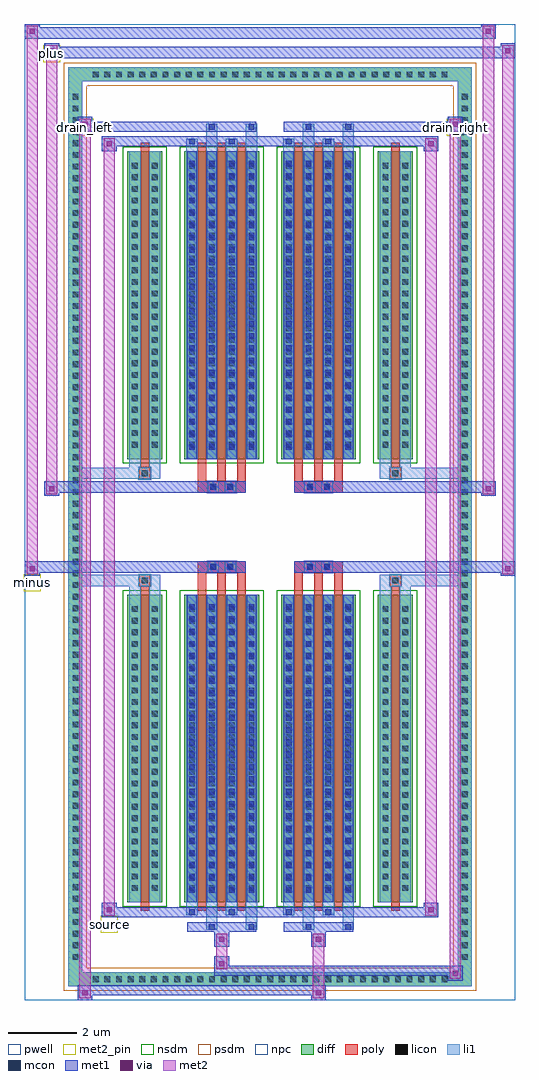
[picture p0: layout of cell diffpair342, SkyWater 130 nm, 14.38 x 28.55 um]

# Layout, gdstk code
import gdstk
lib = gdstk.Library(unit=1e-6, precision=5e-09)
def R(c, l, rs):  # rectangles x0, y0, x1, y1
    for r in rs: c.add(gdstk.rectangle(r[:2], r[2:], *l))
def A(c, l, x, y, w, h, nx, ny, dx, dy):  # array of equal rectangles
    R(c, l, [(x+i*dx, y+j*dy, x+i*dx+w, y+j*dy+h) for i in range(nx) for j in range(ny)])
def P(c, l, *ps):  # polygons
    for p in ps: c.add(gdstk.Polygon(p, *l))
pwell = (64, 44)
diff = (65, 20)
poly = (66, 20)
licon = (66, 44)
li1 = (67, 20)
mcon = (67, 44)
met1 = (68, 20)
via = (68, 44)
met2_pin = (69, 16)
met2 = (69, 20)
nsdm = (93, 44)
psdm = (94, 20)
npc = (95, 20)

diffpair342 = lib.new_cell('diffpair342')
R(diffpair342, pwell, [(-7.17,-13.84,7.17,14.71), (-4.49,-12.03,-0.01,-0.805), (0.01,-12.03,4.49,-0.805), (-4.49,0.805,-0.01,12.03), (0.01,0.805,4.49,12.03)])
A(diffpair342, diff, -5.305, -13.44, 0.41, 0.41, 31, 2, 0.34, 26.47)
A(diffpair342, diff, -5.9, -12.785, 0.41, 0.41, 1, 75, 0, 0.34)
A(diffpair342, diff, 5.49, -12.785, 0.41, 0.41, 1, 75, 0, 0.34)
R(diffpair342, diff, [(-5.305,-13.44,5.305,-13.03), (-5.9,-12.785,-5.49,12.785), (5.49,-12.785,5.9,12.785), (-4.18,-10.985,-3.15,-1.985), (-2.51,-10.985,-0.32,-1.985), (0.32,-10.985,2.51,-1.985), (3.15,-10.985,4.18,-1.985), (-4.18,1.985,-3.15,10.985), (-2.51,1.985,-0.32,10.985), (0.32,1.985,2.51,10.985), (3.15,1.985,4.18,10.985), (-5.305,13.03,5.305,13.44)])
P(diffpair342, diff, [(5.9,13.44),(-5.9,13.44),(-5.9,-13.03),(-5.49,-13.03),(-5.49,13.03),(5.49,13.03),(5.49,-13.03),(-5.49,-13.03),(-5.9,-13.03),(-5.9,-13.44),(5.9,-13.44)])
A(diffpair342, poly, -2.12, -11.235, 0.25, 9.5, 3, 2, 0.58, 12.97)
A(diffpair342, poly, 0.71, -11.235, 0.25, 9.5, 3, 2, 0.58, 12.97)
A(diffpair342, poly, -2.12, -1.735, 0.25, 0.4, 3, 2, 0.58, 3.07)
A(diffpair342, poly, 0.71, -1.735, 0.25, 0.4, 3, 2, 0.58, 3.07)
R(diffpair342, poly, [(-3.79,-11.235,-3.54,-1.735), (3.54,-11.235,3.79,-1.735), (-3.83,-1.735,-3.5,-1.405), (-3.83,-1.735,-3.5,-1.405), (3.5,-1.735,3.83,-1.405), (3.5,-1.735,3.83,-1.405), (-2.12,-1.335,-0.71,-1.005), (-1.83,-1.335,-1.5,-1.005), (-1.33,-1.335,-1,-1.005), (0.71,-1.335,2.12,-1.005), (1,-1.335,1.33,-1.005), (1.5,-1.335,1.83,-1.005), (-2.12,1.005,-0.71,1.335), (-1.83,1.005,-1.5,1.335), (-1.33,1.005,-1,1.335), (0.71,1.005,2.12,1.335), (1,1.005,1.33,1.335), (1.5,1.005,1.83,1.335), (-3.83,1.405,-3.5,1.735), (-3.83,1.405,-3.5,1.735), (3.5,1.405,3.83,1.735), (3.5,1.405,3.83,1.735), (-3.79,1.735,-3.54,11.235), (3.54,1.735,3.79,11.235)])
A(diffpair342, licon, -5.185, -13.32, 0.17, 0.17, 31, 2, 0.34, 26.47)
A(diffpair342, licon, -5.78, -12.665, 0.17, 0.17, 1, 75, 0, 0.34)
A(diffpair342, licon, 5.61, -12.665, 0.17, 0.17, 1, 75, 0, 0.34)
A(diffpair342, licon, -4.04, -10.65, 0.17, 0.17, 1, 25, 0, 0.34)
A(diffpair342, licon, -3.46, -10.65, 0.17, 0.17, 1, 25, 0, 0.34)
A(diffpair342, licon, -2.37, -10.65, 0.17, 0.17, 4, 25, 0.58, 0.34)
A(diffpair342, licon, 0.46, -10.65, 0.17, 0.17, 4, 25, 0.58, 0.34)
A(diffpair342, licon, 3.29, -10.65, 0.17, 0.17, 1, 25, 0, 0.34)
A(diffpair342, licon, 3.87, -10.65, 0.17, 0.17, 1, 25, 0, 0.34)
A(diffpair342, licon, -4.04, 2.32, 0.17, 0.17, 1, 25, 0, 0.34)
A(diffpair342, licon, -3.46, 2.32, 0.17, 0.17, 1, 25, 0, 0.34)
A(diffpair342, licon, -2.37, 2.32, 0.17, 0.17, 4, 25, 0.58, 0.34)
A(diffpair342, licon, 0.46, 2.32, 0.17, 0.17, 4, 25, 0.58, 0.34)
A(diffpair342, licon, 3.29, 2.32, 0.17, 0.17, 1, 25, 0, 0.34)
A(diffpair342, licon, 3.87, 2.32, 0.17, 0.17, 1, 25, 0, 0.34)
R(diffpair342, licon, [(-3.75,-1.655,-3.58,-1.485), (3.58,-1.655,3.75,-1.485), (-1.75,-1.255,-1.58,-1.085), (-1.25,-1.255,-1.08,-1.085), (1.08,-1.255,1.25,-1.085), (1.58,-1.255,1.75,-1.085), (-1.75,1.085,-1.58,1.255), (-1.25,1.085,-1.08,1.255), (1.08,1.085,1.25,1.255), (1.58,1.085,1.75,1.255), (-3.75,1.485,-3.58,1.655), (3.58,1.485,3.75,1.655)])
A(diffpair342, li1, -5.265, -13.4, 0.33, 0.33, 31, 2, 0.34, 26.47)
A(diffpair342, li1, -5.86, -12.745, 0.33, 0.33, 1, 75, 0, 0.34)
A(diffpair342, li1, 5.53, -12.745, 0.33, 0.33, 1, 75, 0, 0.34)
A(diffpair342, li1, -2.45, -10.985, 0.33, 9, 4, 2, 0.58, 12.97)
A(diffpair342, li1, 0.38, -10.985, 0.33, 9, 4, 2, 0.58, 12.97)
A(diffpair342, li1, -4.12, -10.73, 0.33, 0.33, 1, 25, 0, 0.34)
A(diffpair342, li1, -3.54, -10.73, 0.33, 0.33, 1, 25, 0, 0.34)
A(diffpair342, li1, -2.45, -10.73, 0.33, 0.33, 4, 25, 0.58, 0.34)
A(diffpair342, li1, 0.38, -10.73, 0.33, 0.33, 4, 25, 0.58, 0.34)
A(diffpair342, li1, 3.21, -10.73, 0.33, 0.33, 1, 25, 0, 0.34)
A(diffpair342, li1, 3.79, -10.73, 0.33, 0.33, 1, 25, 0, 0.34)
A(diffpair342, li1, -2.37, -10.71, 0.17, 0.17, 4, 24, 0.58, 0.36)
A(diffpair342, li1, -2.37, -10.71, 0.17, 8.45, 4, 2, 0.58, 12.97)
A(diffpair342, li1, 0.46, -10.71, 0.17, 0.17, 4, 24, 0.58, 0.36)
A(diffpair342, li1, 0.46, -10.71, 0.17, 8.45, 4, 2, 0.58, 12.97)
A(diffpair342, li1, -4.12, 2.24, 0.33, 0.33, 1, 25, 0, 0.34)
A(diffpair342, li1, -3.54, 2.24, 0.33, 0.33, 1, 25, 0, 0.34)
A(diffpair342, li1, -2.45, 2.24, 0.33, 0.33, 4, 25, 0.58, 0.34)
A(diffpair342, li1, 0.38, 2.24, 0.33, 0.33, 4, 25, 0.58, 0.34)
A(diffpair342, li1, 3.21, 2.24, 0.33, 0.33, 1, 25, 0, 0.34)
A(diffpair342, li1, 3.79, 2.24, 0.33, 0.33, 1, 25, 0, 0.34)
A(diffpair342, li1, -2.37, 2.26, 0.17, 0.17, 4, 24, 0.58, 0.36)
A(diffpair342, li1, 0.46, 2.26, 0.17, 0.17, 4, 24, 0.58, 0.36)
R(diffpair342, li1, [(-5.9,-13.44,-5.49,-13.03), (-5.9,-13.44,-5.49,-13.03), (-5.49,-13.44,5.49,-13.03), (5.49,-13.44,5.9,-13.03), (5.49,-13.44,5.9,-13.03), (-5.9,-13.03,-5.49,13.03), (5.49,-13.03,5.9,13.03), (-1.87,-11.79,-1.54,-10.985), (-1.79,-11.79,-1.62,-11.62), (-0.71,-11.79,-0.38,-10.985), (-0.63,-11.79,-0.46,-11.62), (0.96,-11.79,1.29,-10.985), (1.04,-11.79,1.21,-11.62), (2.12,-11.79,2.45,-10.985), (2.2,-11.79,2.37,-11.62), (-2.45,-11.36,-2.12,-10.985), (-2.37,-11.36,-2.2,-11.19), (-1.29,-11.36,-0.96,-10.985), (-1.21,-11.36,-1.04,-11.19), (0.38,-11.36,0.71,-10.985), (0.46,-11.36,0.63,-11.19), (1.54,-11.36,1.87,-10.985), (1.62,-11.36,1.79,-11.19), (-4.12,-10.985,-3.79,-1.985), (-3.54,-10.985,-3.21,-1.985), (3.21,-10.985,3.54,-1.985), (3.79,-10.985,4.12,-1.985), (-4.12,-1.985,-3.79,-1.405), (-3.54,-1.985,-3.21,-1.405), (3.21,-1.985,3.54,-1.405), (3.79,-1.985,4.12,-1.405), (-5.9,-1.735,-3.83,-1.405), (-4.12,-1.735,-3.83,-1.405), (-3.83,-1.735,-3.5,-1.405), (-3.5,-1.735,-3.21,-1.405), (3.21,-1.735,3.5,-1.405), (3.5,-1.735,3.83,-1.405), (3.5,-1.735,5.9,-1.405), (3.83,-1.735,4.12,-1.405), (-1.83,-1.335,-1.5,-1.005), (-1.33,-1.335,-1,-1.005), (1,-1.335,1.33,-1.005), (1.5,-1.335,1.83,-1.005), (-1.83,1.005,-1.5,1.335), (-1.33,1.005,-1,1.335), (1,1.005,1.33,1.335), (1.5,1.005,1.83,1.335), (-5.9,1.405,-3.83,1.735), (-4.12,1.405,-3.83,1.735), (-4.12,1.405,-3.79,1.985), (-3.83,1.405,-3.5,1.735), (-3.54,1.405,-3.21,1.985), (-3.5,1.405,-3.21,1.735), (3.21,1.405,3.5,1.735), (3.21,1.405,3.54,1.985), (3.5,1.405,3.83,1.735), (3.5,1.405,5.9,1.735), (3.79,1.405,4.12,1.985), (3.83,1.405,4.12,1.735), (-4.12,1.985,-3.79,10.985), (-3.54,1.985,-3.21,10.985), (3.21,1.985,3.54,10.985), (3.79,1.985,4.12,10.985), (-2.45,10.985,-2.12,11.36), (-1.87,10.985,-1.54,11.79), (-1.29,10.985,-0.96,11.36), (-0.71,10.985,-0.38,11.79), (0.38,10.985,0.71,11.36), (0.96,10.985,1.29,11.79), (1.54,10.985,1.87,11.36), (2.12,10.985,2.45,11.79), (-2.37,11.19,-2.2,11.36), (-1.21,11.19,-1.04,11.36), (0.46,11.19,0.63,11.36), (1.62,11.19,1.79,11.36), (-1.79,11.62,-1.62,11.79), (-0.63,11.62,-0.46,11.79), (1.04,11.62,1.21,11.79), (2.2,11.62,2.37,11.79), (-5.9,13.03,-5.49,13.44), (-5.9,13.03,-5.49,13.44), (-5.49,13.03,5.49,13.44), (5.49,13.03,5.9,13.44), (5.49,13.03,5.9,13.44)])
A(diffpair342, mcon, -2.37, -10.71, 0.17, 0.17, 4, 24, 0.58, 0.36)
A(diffpair342, mcon, 0.46, -10.71, 0.17, 0.17, 4, 24, 0.58, 0.36)
A(diffpair342, mcon, -2.37, 2.26, 0.17, 0.17, 4, 24, 0.58, 0.36)
A(diffpair342, mcon, 0.46, 2.26, 0.17, 0.17, 4, 24, 0.58, 0.36)
R(diffpair342, mcon, [(-1.79,-11.79,-1.62,-11.62), (-0.63,-11.79,-0.46,-11.62), (1.04,-11.79,1.21,-11.62), (2.2,-11.79,2.37,-11.62), (-2.37,-11.36,-2.2,-11.19), (-1.21,-11.36,-1.04,-11.19), (0.46,-11.36,0.63,-11.19), (1.62,-11.36,1.79,-11.19), (-1.75,-1.255,-1.58,-1.085), (-1.25,-1.255,-1.08,-1.085), (1.08,-1.255,1.25,-1.085), (1.58,-1.255,1.75,-1.085), (-1.75,1.085,-1.58,1.255), (-1.25,1.085,-1.08,1.255), (1.08,1.085,1.25,1.255), (1.58,1.085,1.75,1.255), (-2.37,11.19,-2.2,11.36), (-1.21,11.19,-1.04,11.36), (0.46,11.19,0.63,11.36), (1.62,11.19,1.79,11.36), (-1.79,11.62,-1.62,11.79), (-0.63,11.62,-0.46,11.79), (1.04,11.62,1.21,11.79), (2.2,11.62,2.37,11.79)])
A(diffpair342, met1, -2.43, -10.985, 0.29, 9, 4, 2, 0.58, 12.97)
A(diffpair342, met1, 0.4, -10.985, 0.29, 9, 4, 2, 0.58, 12.97)
A(diffpair342, met1, -2.43, -10.77, 0.29, 0.29, 4, 24, 0.58, 0.36)
A(diffpair342, met1, 0.4, -10.77, 0.29, 0.29, 4, 24, 0.58, 0.36)
A(diffpair342, met1, -2.43, 2.2, 0.29, 0.29, 4, 24, 0.58, 0.36)
A(diffpair342, met1, 0.4, 2.2, 0.29, 0.29, 4, 24, 0.58, 0.36)
R(diffpair342, met1, [(-5.63,-13.84,-5.2,-13.41), (1.2,-13.84,1.63,-13.41), (-5.63,-13.7,1.63,-13.41), (5.2,-13.27,5.63,-12.84), (-1.63,-13.13,5.63,-12.84), (-1.63,-12.99,-1.2,-12.56), (-1.63,-12.28,-1.2,-11.85), (1.2,-12.28,1.63,-11.85), (-2.43,-11.85,-0.4,-11.56), (-1.85,-11.85,-1.56,-11.56), (-0.69,-11.85,-0.4,-11.56), (0.4,-11.85,2.43,-11.56), (0.98,-11.85,1.27,-11.56), (2.14,-11.85,2.43,-11.56), (-4.92,-11.42,-4.49,-10.99), (-4.92,-11.42,-2.43,-11.13), (-2.43,-11.42,-2.14,-11.13), (-2.43,-11.42,-0.4,-11.13), (-1.27,-11.42,-0.98,-11.13), (-0.4,-11.42,0.4,-11.13), (0.4,-11.42,0.69,-11.13), (0.4,-11.42,2.43,-11.13), (1.56,-11.42,1.85,-11.13), (2.43,-11.42,4.92,-11.13), (4.49,-11.42,4.92,-10.99), (-7.17,-1.435,-6.74,-1.005), (6.74,-1.435,7.17,-1.005), (-7.17,-1.335,-0.71,-1.005), (-2.12,-1.335,-0.71,-1.005), (0.71,-1.335,2.12,-1.005), (0.71,-1.335,7.17,-1.005), (-1.81,-1.315,-1.52,-1.025), (-1.31,-1.315,-1.02,-1.025), (1.02,-1.315,1.31,-1.025), (1.52,-1.315,1.81,-1.025), (-6.6,0.905,-6.17,1.335), (6.17,0.905,6.6,1.335), (-6.6,1.005,-2.12,1.335), (-2.12,1.005,-0.71,1.335), (0.71,1.005,2.12,1.335), (2.12,1.005,6.6,1.335), (-1.81,1.025,-1.52,1.315), (-1.31,1.025,-1.02,1.315), (1.02,1.025,1.31,1.315), (1.52,1.025,1.81,1.315), (-4.92,10.99,-4.49,11.42), (4.49,10.99,4.92,11.42), (-4.92,11.13,-2.43,11.42), (-2.43,11.13,-2.14,11.42), (-2.43,11.13,-0.4,11.42), (-1.27,11.13,-0.98,11.42), (-0.4,11.13,0.4,11.42), (0.4,11.13,0.69,11.42), (0.4,11.13,2.43,11.42), (1.56,11.13,1.85,11.42), (2.43,11.13,4.92,11.42), (-5.63,11.56,-5.2,11.99), (-5.63,11.56,-2.43,11.85), (-2.43,11.56,-0.4,11.85), (-1.85,11.56,-1.56,11.85), (-0.69,11.56,-0.4,11.85), (0.4,11.56,2.43,11.85), (0.98,11.56,1.27,11.85), (2.14,11.56,2.43,11.85), (2.43,11.56,5.63,11.85), (5.2,11.56,5.63,11.99), (-6.6,13.71,-6.17,14.14), (-6.6,13.71,-4.49,14.04), (-4.49,13.71,4.49,14.04), (4.49,13.71,7.17,14.04), (6.74,13.71,7.17,14.14), (-7.17,14.28,-6.74,14.71), (-7.17,14.28,-4.49,14.61), (-4.49,14.28,4.49,14.61), (4.49,14.28,6.6,14.61), (6.17,14.28,6.6,14.71)])
R(diffpair342, via, [(-5.49,-13.7,-5.34,-13.55), (1.34,-13.7,1.49,-13.55), (5.34,-13.13,5.49,-12.98), (-1.49,-12.85,-1.34,-12.7), (-1.49,-12.14,-1.34,-11.99), (1.34,-12.14,1.49,-11.99), (-4.78,-11.28,-4.63,-11.13), (4.63,-11.28,4.78,-11.13), (-7.03,-1.295,-6.88,-1.145), (6.88,-1.295,7.03,-1.145), (-6.46,1.045,-6.31,1.195), (6.31,1.045,6.46,1.195), (-4.78,11.13,-4.63,11.28), (4.63,11.13,4.78,11.28), (-5.49,11.7,-5.34,11.85), (5.34,11.7,5.49,11.85), (-6.46,13.85,-6.31,14), (6.88,13.85,7.03,14), (-7.03,14.42,-6.88,14.57), (6.31,14.42,6.46,14.57)])
R(diffpair342, met2_pin, [(-4.955,-11.87,-4.455,-11.37), (-7.205,-1.885,-6.705,-1.385), (-5.665,11.44,-5.165,11.94), (5.165,11.44,5.665,11.94), (-6.635,13.59,-6.135,14.09)])
R(diffpair342, met2, [(-5.58,-13.79,-5.25,-13.46), (-5.58,-13.79,-5.25,11.94), (1.25,-13.79,1.58,-13.46), (1.25,-13.46,1.58,-12.23), (5.25,-13.22,5.58,-12.89), (5.25,-13.22,5.58,11.94), (-1.58,-12.94,-1.25,-12.61), (-1.58,-12.61,-1.25,-12.23), (-1.58,-12.23,-1.25,-11.9), (1.25,-12.23,1.58,-11.9), (-4.87,-11.37,-4.54,-11.04), (-4.87,-11.37,-4.54,11.37), (4.54,-11.37,4.87,-11.04), (4.54,-11.37,4.87,11.37), (-7.12,-1.385,-6.79,-1.055), (-7.12,-1.385,-6.79,14.66), (6.79,-1.385,7.12,-1.055), (6.79,-1.385,7.12,14.09), (-6.55,0.955,-6.22,1.285), (-6.55,0.955,-6.22,14.09), (6.22,0.955,6.55,1.285), (6.22,0.955,6.55,14.66), (-4.87,11.04,-4.54,11.37), (4.54,11.04,4.87,11.37), (-5.58,11.61,-5.25,11.94), (5.25,11.61,5.58,11.94), (-6.55,13.76,-6.22,14.09), (6.79,13.76,7.12,14.09), (-7.12,14.33,-6.79,14.66), (6.22,14.33,6.55,14.66)])
P(diffpair342, met2, [(7.12,-1.385),(7.12,-1.385),(7.12,-1.055),(7.12,-1.055)],
  [(7.12,13.76),(7.12,13.76),(7.12,14.09),(7.12,14.09)],
  [(-6.79,-1.385),(-6.79,-1.385),(-6.79,-1.055),(-6.79,-1.055)],
  [(-6.79,14.33),(-6.79,14.33),(-6.79,14.66),(-6.79,14.66)],
  [(6.55,0.955),(6.55,0.955),(6.55,1.285),(6.55,1.285)],
  [(6.55,14.33),(6.55,14.33),(6.55,14.66),(6.55,14.66)],
  [(-6.22,0.955),(-6.22,0.955),(-6.22,1.285),(-6.22,1.285)],
  [(-6.22,13.76),(-6.22,13.76),(-6.22,14.09),(-6.22,14.09)],
  [(-5.25,-13.79),(-5.25,-13.79),(-5.25,-13.46),(-5.25,-13.46)],
  [(-5.25,11.61),(-5.25,11.61),(-5.25,11.94),(-5.25,11.94)],
  [(5.58,-13.22),(5.58,-13.22),(5.58,-12.89),(5.58,-12.89)],
  [(5.58,11.61),(5.58,11.61),(5.58,11.94),(5.58,11.94)],
  [(-4.54,-11.37),(-4.54,-11.37),(-4.54,-11.04),(-4.54,-11.04)],
  [(-4.54,11.04),(-4.54,11.04),(-4.54,11.37),(-4.54,11.37)],
  [(4.87,-11.37),(4.87,-11.37),(4.87,-11.04),(4.87,-11.04)],
  [(4.87,11.04),(4.87,11.04),(4.87,11.37),(4.87,11.37)])
R(diffpair342, nsdm, [(-4.31,-11.115,-3.02,-1.855), (-2.64,-11.115,-0.19,-1.855), (0.19,-11.115,2.64,-1.855), (3.02,-11.115,4.31,-1.855), (-4.31,1.855,-3.02,11.115), (-2.64,1.855,-0.19,11.115), (0.19,1.855,2.64,11.115), (3.02,1.855,4.31,11.115)])
P(diffpair342, psdm, [(6.03,13.57),(-6.03,13.57),(-6.03,-12.9),(-5.36,-12.9),(-5.36,12.9),(5.36,12.9),(5.36,-12.9),(-5.36,-12.9),(-6.03,-12.9),(-6.03,-13.57),(6.03,-13.57)])
R(diffpair342, npc, [(-3.85,-1.755,-3.48,-1.385), (3.48,-1.755,3.85,-1.385), (-1.85,-1.355,-1.48,-0.985), (-1.85,-1.355,-0.98,-0.985), (-1.85,-1.355,-0.98,-0.985), (-1.35,-1.355,-0.98,-0.985), (0.98,-1.355,1.35,-0.985), (0.98,-1.355,1.85,-0.985), (0.98,-1.355,1.85,-0.985), (1.48,-1.355,1.85,-0.985), (-1.85,0.985,-1.48,1.355), (-1.85,0.985,-0.98,1.355), (-1.85,0.985,-0.98,1.355), (-1.35,0.985,-0.98,1.355), (0.98,0.985,1.35,1.355), (0.98,0.985,1.85,1.355), (0.98,0.985,1.85,1.355), (1.48,0.985,1.85,1.355), (-3.85,1.385,-3.48,1.755), (3.48,1.385,3.85,1.755)])
diffpair342.add(gdstk.Label('minus', (-6.955,-1.635), layer=69, texttype=5))
diffpair342.add(gdstk.Label('drain_right', (5.415,11.69), layer=69, texttype=5))
diffpair342.add(gdstk.Label('drain_left', (-5.415,11.69), layer=69, texttype=5))
diffpair342.add(gdstk.Label('source', (-4.705,-11.62), layer=69, texttype=5))
diffpair342.add(gdstk.Label('plus', (-6.385,13.84), layer=69, texttype=5))

lib.write_gds('diffpair342.gds')
